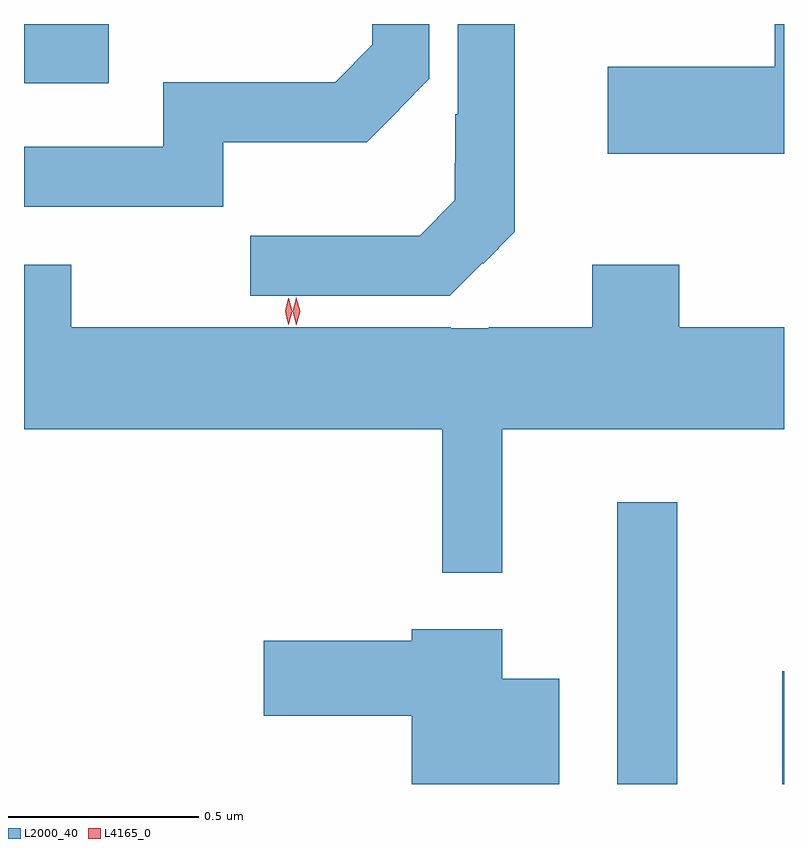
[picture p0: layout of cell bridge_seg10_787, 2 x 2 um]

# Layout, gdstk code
import gdstk
lib = gdstk.Library(unit=1e-6, precision=1e-09)
def R(c, l, rs):  # rectangles x0, y0, x1, y1
    for r in rs: c.add(gdstk.rectangle(r[:2], r[2:], *l))
def P(c, l, *ps):  # polygons
    for p in ps: c.add(gdstk.Polygon(p, *l))
L2000_40 = (2000, 40)
L4165_0 = (4165, 0)

bridge_seg10_787 = lib.new_cell('bridge_seg10_787')
R(bridge_seg10_787, L2000_40, [(596.556,2164.042,596.714,2164.783), (596.991,2164.042,596.995,2164.339), (594.995,2165.886,595.218,2166.042)])
P(bridge_seg10_787, L2000_40, [(596.995,2166.042),(596.971,2166.042),(596.971,2165.929),(596.531,2165.929),(596.531,2165.701),(596.995,2165.701)],
  [(595.519,2165.731),(595.897,2165.731),(595.983,2165.817),(595.982,2165.818),(596.062,2165.898),(596.062,2166.042),(595.911,2166.042),(595.911,2165.987),(595.814,2165.889),(595.361,2165.889),(595.361,2165.719),(594.995,2165.719),(594.995,2165.561),(595.519,2165.561)],
  [(596.201,2165.413),(596.203,2165.411),(596.287,2165.495),(596.287,2166.042),(596.137,2166.042),(596.137,2165.805),(596.13,2165.805),(596.13,2165.676),(596.129,2165.676),(596.129,2165.578),(596.037,2165.485),(595.591,2165.485),(595.591,2165.327),(596.115,2165.327)],
  [(596.254,2164.976),(596.995,2164.976),(596.995,2165.244),(596.719,2165.244),(596.719,2165.409),(596.491,2165.409),(596.491,2165.244),(596.218,2165.244),(596.218,2165.242),(596.118,2165.242),(596.118,2165.244),(595.119,2165.244),(595.119,2165.409),(594.995,2165.409),(594.995,2164.976),(596.096,2164.976),(596.096,2164.598),(596.254,2164.598)],
  [(596.404,2164.319),(596.254,2164.319),(596.254,2164.449),(596.016,2164.449),(596.016,2164.419),(595.626,2164.419),(595.626,2164.221),(596.016,2164.221),(596.016,2164.042),(596.404,2164.042)])
P(bridge_seg10_787, L4165_0, [(595.711,2165.249),(595.702,2165.286),(595.711,2165.322),(595.712,2165.323),(595.712,2165.322),(595.722,2165.286),(595.712,2165.249),(595.712,2165.249)],
  [(595.691,2165.251),(595.691,2165.252),(595.682,2165.286),(595.691,2165.32),(595.692,2165.32),(595.692,2165.32),(595.701,2165.286),(595.692,2165.252)])

lib.write_gds('bridge_seg10_787.gds')
